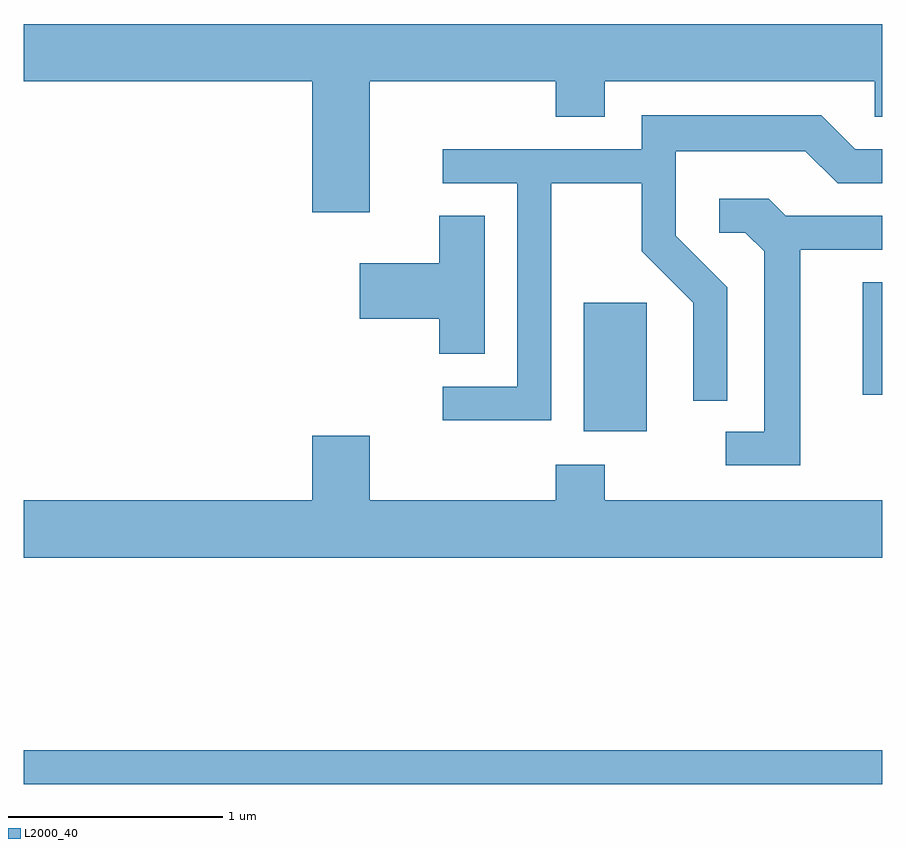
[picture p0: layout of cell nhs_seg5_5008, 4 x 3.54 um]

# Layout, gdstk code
import gdstk
lib = gdstk.Library(unit=1e-6, precision=1e-09)
def R(c, l, rs):  # rectangles x0, y0, x1, y1
    for r in rs: c.add(gdstk.rectangle(r[:2], r[2:], *l))
def P(c, l, *ps):  # polygons
    for p in ps: c.add(gdstk.Polygon(p, *l))
L2000_40 = (2000, 40)

nhs_seg5_5008 = lib.new_cell('nhs_seg5_5008')
R(nhs_seg5_5008, L2000_40, [(333.611,1462.401,337.611,1462.559), (336.221,1464.046,336.514,1464.644), (337.521,1464.216,337.611,1464.739)])
P(nhs_seg5_5008, L2000_40, [(335.224,1465.676),(336.091,1465.676),(336.091,1465.511),(336.319,1465.511),(336.319,1465.676),(337.576,1465.676),(337.576,1465.511),(337.611,1465.511),(337.611,1465.944),(333.611,1465.944),(333.611,1465.676),(334.956,1465.676),(334.956,1465.066),(335.224,1465.066)],
  [(336.069,1465.201),(336.491,1465.201),(336.491,1464.884),(336.731,1464.644),(336.731,1464.188),(336.889,1464.188),(336.889,1464.717),(336.649,1464.957),(336.649,1465.351),(337.254,1465.351),(337.404,1465.201),(337.611,1465.201),(337.611,1465.359),(337.487,1465.359),(337.327,1465.519),(336.491,1465.519),(336.491,1465.359),(335.563,1465.359),(335.563,1465.201),(335.911,1465.201),(335.911,1464.254),(335.563,1464.254),(335.563,1464.096),(336.069,1464.096)],
  [(337.229,1464.891),(337.611,1464.891),(337.611,1465.049),(337.162,1465.049),(337.082,1465.129),(336.853,1465.129),(336.853,1464.971),(336.974,1464.971),(337.061,1464.884),(337.061,1464.044),(336.883,1464.044),(336.883,1463.886),(337.229,1463.886)],
  [(335.759,1465.049),(335.546,1465.049),(335.546,1464.829),(335.176,1464.829),(335.176,1464.571),(335.546,1464.571),(335.546,1464.406),(335.759,1464.406)],
  [(337.611,1463.724),(336.319,1463.724),(336.319,1463.889),(336.091,1463.889),(336.091,1463.724),(335.224,1463.724),(335.224,1464.024),(334.956,1464.024),(334.956,1463.724),(333.611,1463.724),(333.611,1463.456),(337.611,1463.456)])

lib.write_gds('nhs_seg5_5008.gds')
